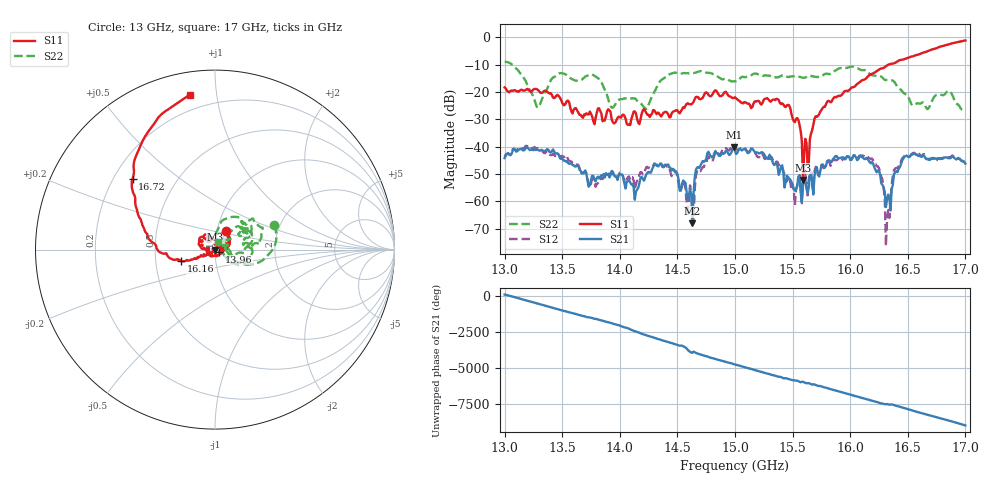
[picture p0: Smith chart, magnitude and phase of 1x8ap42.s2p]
!Keysight Technologies,P9374A,MY57211807,A.19.30.04
!Date: Friday, May 08, 2026 14:59:20
!Correction: S11(C  2-Port  )
!S21(C  2-Port  )
!S12(C  2-Port  )
!S22(C  2-Port  )
!S2P File: Measurements: S11, S21, S12, S22:
# Hz S  dB  R 50
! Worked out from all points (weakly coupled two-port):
!   401 points, 13 GHz to 17 GHz, reference 50 ohm
!   highest |S21| = -40.20 dB at 14.99 GHz (marker M1); lowest = -68.1 dB at 14.63 GHz (marker M2)
!   lowest |S11| = -52.2 dB at 15.59 GHz (marker M3), VSWR 1.00, Z = 50.2 - j0.0167 ohm
!   |S11| at or under -10 dB: start of sweep to 16.33 GHz
!   |S22| runs from -26.8 to -8.9 dB; largest |S21 - S12| = 0.0022
!   S11 on the Smith chart (normalised r, x): 13 GHz: 1.11, +0.23; 13.96 GHz: 1.05, -0.02; 16.16 GHz: 0.68, -0.09; 16.72 GHz: 0.28, +0.35; 17 GHz: 0.12, +0.85
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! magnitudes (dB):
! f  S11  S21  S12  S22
! 13 GHz  -18.4  -44.2  -43.8  -8.9
! 13.29 GHz  -19.4  -41.1  -40.6  -25.8
! 13.46 GHz  -21.1  -42.4  -42.8  -13.6
! 13.67 GHz  -29.0  -49.8  -49.7  -15.5
! 13.96 GHz  -31.2  -51.0  -50.7  -24.6
! 14.14 GHz  -27.9  -56.5  -53.8  -22.6
! 14.34 GHz  -27.8  -47.0  -47.2  -16.7
! 14.63 GHz  -24.2  -68.1  -58.3  -13.1
! 14.76 GHz  -20.4  -42.4  -44.5  -13.0
! 14.99 GHz  -22.2  -40.2  -39.8  -16.1
! 15 GHz  -21.9  -41.6  -40.1  -16.1
! 15.46 GHz  -24.7  -51.0  -51.2  -14.5
! 15.59 GHz  -52.2  -54.6  -52.2  -14.8
! 15.67 GHz  -34.0  -53.1  -54.5  -14.2
! 16.16 GHz  -14.1  -45.1  -44.3  -13.0
! 16.26 GHz  -11.6  -50.3  -49.2  -14.2
! 16.32 GHz  -10.3  -59.2  -66.7  -15.6
! 16.34 GHz  -9.9  -58.8  -66.0  -15.7
! 16.38 GHz  -9.5  -50.0  -48.6  -16.2
! 16.46 GHz  -8.2  -44.5  -43.9  -20.2
! 16.72 GHz  -4.4  -44.5  -44.4  -22.4
! 17 GHz  -1.2  -46.2  -46.6  -26.8
